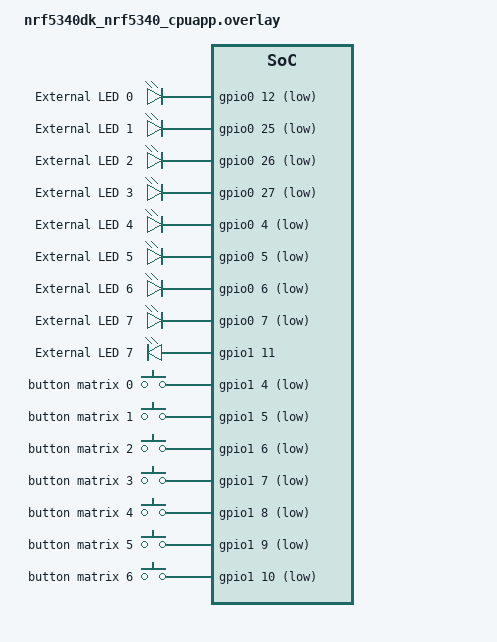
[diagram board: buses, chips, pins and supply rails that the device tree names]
// To get started, press Ctrl+Space to bring up the completion menu and view the available nodes.

// You can also use the buttons in the sidebar to perform actions on nodes.
// Actions currently available include:

// * Enabling / disabling the node
// * Adding the bus to a bus
// * Removing the node
// * Connecting ADC channels

// For more help, browse the DeviceTree documentation at https://docs.zephyrproject.org/latest/guides/dts/index.html
// You can also visit the nRF DeviceTree extension documentation at https://docs.nordicsemi.com/bundle/nrf-connect-vscode/page/guides/ncs_configure_app.html#devicetree-support-in-the-extension
/ {
    leds {
        compatible = "gpio-leds";
        ledx0: ledx_0{
            gpios = <&gpio0 12 GPIO_ACTIVE_LOW>;
            label = "External LED 0"; 
        };
        ledx1: ledx_1{
            gpios = <&gpio0 25 GPIO_ACTIVE_LOW>;
            label = "External LED 1"; 
        };
        ledx2: ledx_2{
            gpios = <&gpio0 26 GPIO_ACTIVE_LOW>;
            label = "External LED 2"; 
        };
        ledx3: ledx_3{
            gpios = <&gpio0 27 GPIO_ACTIVE_LOW>;
            label = "External LED 3"; 
        };
        ledx4: ledx_4{
            gpios = <&gpio0 4 GPIO_ACTIVE_LOW>;
            label = "External LED 4"; 
        };
        ledx5: ledx_5{
            gpios = <&gpio0 5 GPIO_ACTIVE_LOW>;
            label = "External LED 5"; 
        };
        ledx6: ledx_6{
            gpios = <&gpio0 6 GPIO_ACTIVE_LOW>;
            label = "External LED 6"; 
        };
        ledx7: ledx_7{
            gpios = <&gpio0 7 GPIO_ACTIVE_LOW>;
            label = "External LED 7"; 
        };
        testled: led_test{
            gpios = <&gpio1 11 GPIO_ACTIVE_HIGH>;
            label = "External LED 7"; 
        };
    };

    buttons {
        btnmtrx0: btnmtrx_0 {
            gpios = <&gpio1 4 GPIO_ACTIVE_LOW>; 
            label = "button matrix 0"; 
        };
        btnmtrx1: btnmtrx_1 {
            gpios = <&gpio1 5 GPIO_ACTIVE_LOW>; 
            label = "button matrix 1"; 
        };
        btnmtrx2: btnmtrx_2 {
            gpios = <&gpio1 6 GPIO_ACTIVE_LOW>; 
            label = "button matrix 2"; 
        };
        btnmtrx3: btnmtrx_3 {
            gpios = <&gpio1 7 GPIO_ACTIVE_LOW>; 
            label = "button matrix 3"; 
        };
        btnmtrx4: btnmtrx_4 {
            gpios = <&gpio1 8 GPIO_ACTIVE_LOW>; 
            label = "button matrix 4"; 
        };
        btnmtrx5: btnmtrx_5 {
            gpios = <&gpio1 9 GPIO_ACTIVE_LOW>; 
            label = "button matrix 5"; 
        };
        btnmtrx6: btnmtrx_6 {
            gpios = <&gpio1 10 GPIO_ACTIVE_LOW>; 
            label = "button matrix 6"; 
        };
    };
};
